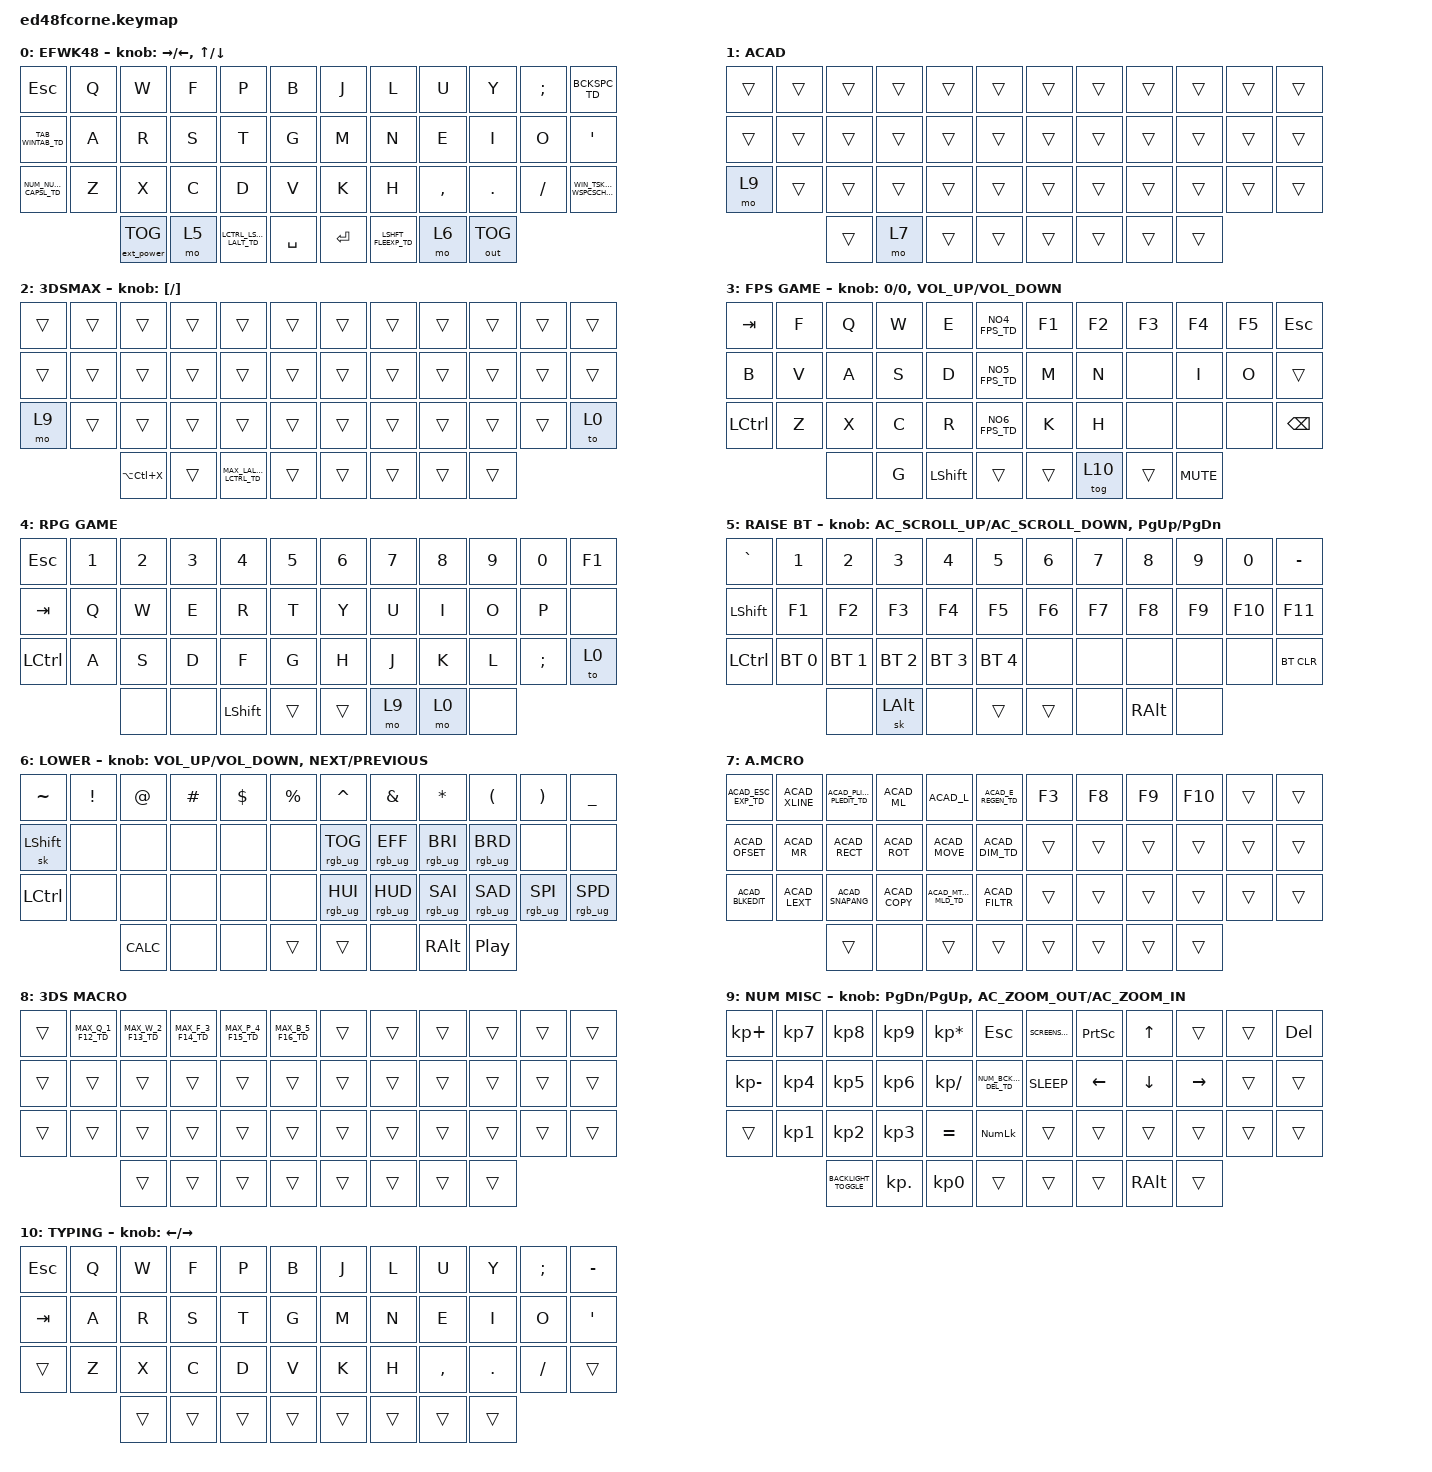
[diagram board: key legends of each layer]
/*
 * Copyright (c) 2020 The ZMK Contributors
 *
 * SPDX-License-Identifier: MIT
 */

#include <behaviors.dtsi>
#include <dt-bindings/zmk/bt.h>
#include <dt-bindings/zmk/ext_power.h>
#include <dt-bindings/zmk/keys.h>
#include <dt-bindings/zmk/outputs.h>
#include <dt-bindings/zmk/rgb.h>

&sk {
    quick-release;
    release-after-ms = <300>;
};

/ {
    behaviors {
        LCTRL_LSHFT_LALT_TD: LCTRL_LSHFT_LALT_TD {
            compatible = "zmk,behavior-tap-dance";
            #binding-cells = <0>;
            bindings = <&kp LCTRL>, <&sk LSHFT>, <&sk LEFT_ALT>;

            tapping-term-ms = <200>;
        };

        NO4_FPS_TD: NO4_FPS_TD {
            compatible = "zmk,behavior-tap-dance";
            #binding-cells = <0>;
            bindings = <&kp N1>, <&kp N4>;

            tapping-term-ms = <280>;
        };

        NO5_FPS_TD: NO5_FPS_TD {
            compatible = "zmk,behavior-tap-dance";
            #binding-cells = <0>;
            bindings = <&kp N2>, <&kp N5>;

            tapping-term-ms = <280>;
        };

        NO6_FPS_TD: NO6_FPS_TD {
            compatible = "zmk,behavior-tap-dance";
            #binding-cells = <0>;
            bindings = <&kp N3>, <&kp N6>;

            tapping-term-ms = <280>;
        };

        ACAD_DIM_TD: ACAD_DIM_TD {
            compatible = "zmk,behavior-tap-dance";
            #binding-cells = <0>;
            tapping-term-ms = <300>;
            bindings = <&ACAD_DIML>, <&ACAD_DIMNTCON>;
        };

        ACAD_E_REGEN_TD: ACAD_E_REGEN_TD {
            compatible = "zmk,behavior-tap-dance";
            #binding-cells = <0>;
            bindings = <&ACAD_ERASE>, <&ACAD_REGEN>;

            tapping-term-ms = <300>;
        };

        ACAD_MTPROP_MLD_TD: ACAD_MTPROP_MLD_TD {
            compatible = "zmk,behavior-tap-dance";
            #binding-cells = <0>;
            bindings = <&ACAD_MATCHPROP>, <&ACAD_MLD>;

            tapping-term-ms = <300>;
        };

        ACAD_PLINE_PLEDIT_TD: ACAD_PLINE_PLEDIT_TD {
            compatible = "zmk,behavior-tap-dance";
            #binding-cells = <0>;
            bindings = <&ACAD_PLINE>, <&ACAD_PLINEDIT>;

            tapping-term-ms = <300>;
        };

        WIN_TSKMGR_WSPCSCHW_TD: WIN_TSKMGR_WSPCSCHW_TD {
            compatible = "zmk,behavior-tap-dance";
            #binding-cells = <0>;
            tapping-term-ms = <300>;
            bindings = <&kp LEFT_GUI>, <&kp LC(LGUI)>, <&kp LC(LA(DELETE))>;
        };

        NUM_NUMTOG_CAPSL_TD: NUM_NUMTOG_CAPSL_TD {
            compatible = "zmk,behavior-tap-dance";
            #binding-cells = <0>;
            tapping-term-ms = <250>;
            bindings = <&mo 9>, <&kp CAPS>, <&tog 9>;
        };

        BCKSPC_TD: BCKSPC_TD {
            compatible = "zmk,behavior-tap-dance";
            #binding-cells = <0>;
            tapping-term-ms = <170>;
            bindings = <&kp BACKSPACE>, <&kp LC(BACKSPACE)>;
        };

        TAB_WINTAB_TD: TAB_WINTAB_TD {
            compatible = "zmk,behavior-tap-dance";
            #binding-cells = <0>;
            tapping-term-ms = <250>;
            bindings = <&kp TAB>, <&kp LA(LC(TAB))>, <&kp LA(TAB)>;
        };

        MAX_LALT_LSHFT_LCTRL_TD: MAX_LALT_LSHFT_LCTRL_TD {
            compatible = "zmk,behavior-tap-dance";
            #binding-cells = <0>;
            tapping-term-ms = <180>;
            bindings = <&kp LALT>, <&kp LSHIFT>, <&kp LCTRL>;
        };

        LSHFT_FLEEXP_TD: LSHFT_FLEEXP_TD {
            compatible = "zmk,behavior-tap-dance";
            #binding-cells = <0>;
            bindings = <&sk LEFT_SHIFT>, <&kp LG(E)>;

            tapping-term-ms = <200>;
        };

        ACAD_ESC_EXP_TD: ACAD_ESC_EXP_TD {
            compatible = "zmk,behavior-tap-dance";
            #binding-cells = <0>;
            bindings = <&kp ESCAPE>, <&ACAD_EXPLODE>;
        };

        MAX_SHFT_RISELAY_TD: MAX_SHFT_RISELAY_TD {
            compatible = "zmk,behavior-tap-dance";
            #binding-cells = <0>;
            bindings = <&kp LSHFT>, <&mo 8>, <&sl 5>;
        };

        MAX_Q_1_F12_TD: MAX_Q_1_F12_TD {
            compatible = "zmk,behavior-tap-dance";
            #binding-cells = <0>;
            bindings = <&kp Q>, <&kp N1>, <&kp F12>;

            tapping-term-ms = <250>;
        };

        MAX_W_2_F13_TD: MAX_W_2_F13_TD {
            compatible = "zmk,behavior-tap-dance";
            #binding-cells = <0>;
            bindings = <&kp W>, <&kp N2>, <&kp F13>;
        };

        MAX_F_3_F14_TD: MAX_F_3_F14_TD {
            compatible = "zmk,behavior-tap-dance";
            #binding-cells = <0>;
            bindings = <&kp F>, <&kp N3>, <&kp F14>;
        };

        MAX_P_4_F15_TD: MAX_P_4_F15_TD {
            compatible = "zmk,behavior-tap-dance";
            #binding-cells = <0>;
            bindings = <&kp P>, <&kp N4>, <&kp F15>;
        };

        MAX_B_5_F16_TD: MAX_B_5_F16_TD {
            compatible = "zmk,behavior-tap-dance";
            #binding-cells = <0>;
            bindings = <&kp B>, <&kp N5>, <&kp F16>;
        };

        NUM_BCKSPC_DEL_TD: NUM_BCKSPC_DEL_TD {
            compatible = "zmk,behavior-tap-dance";
            #binding-cells = <0>;
            tapping-term-ms = <250>;
            bindings = <&kp BACKSPACE>, <&kp DELETE>;
        };
    };

    combos {
        compatible = "zmk,combos";

        ACAD_LAY {
            bindings = <&tog 1>;
            key-positions = <0 12>;
        };

        MAX3DS_LAY {
            bindings = <&tog 2>;
            key-positions = <12 24>;
        };

        FPS_G_LAY {
            bindings = <&tog 3>;
            key-positions = <41 40>;
        };

        RPG_G_LAY {
            bindings = <&tog 4>;
            key-positions = <42 41>;
        };
    };

    macros {
        ACAD_L: ACAD_L {
            compatible = "zmk,behavior-macro";
            #binding-cells = <0>;
            bindings = <&kp L &kp I &kp N &kp E &kp ENTER>;
        };

        ACAD_LEXT: ACAD_LEXT {
            compatible = "zmk,behavior-macro";
            #binding-cells = <0>;
            bindings = <&kp E &kp X &kp T &kp E &kp N &kp D &kp RET>;
        };

        ACAD_REGEN: ACAD_REGEN {
            compatible = "zmk,behavior-macro";
            #binding-cells = <0>;
            bindings = <&kp R &kp E &kp RET>;
        };

        ACAD_RECT: ACAD_RECT {
            compatible = "zmk,behavior-macro";
            #binding-cells = <0>;
            bindings = <&kp R &kp E &kp C &kp T &kp RET>;
        };

        ACAD_DIML: ACAD_DIML {
            compatible = "zmk,behavior-macro";
            #binding-cells = <0>;
            bindings = <&kp D &kp I &kp M &kp L &kp RET>;
        };

        ACAD_MR: ACAD_MR {
            compatible = "zmk,behavior-macro";
            #binding-cells = <0>;
            bindings = <&kp M &kp I &kp RET>;
        };

        ACAD_BLKEDIT: ACAD_BLKEDIT {
            compatible = "zmk,behavior-macro";
            #binding-cells = <0>;
            bindings = <&kp B &kp E &kp D &kp I &kp T &kp RET>;
        };

        ACAD_ROT: ACAD_ROT {
            compatible = "zmk,behavior-macro";
            #binding-cells = <0>;
            bindings = <&kp R &kp O &kp T &kp RET>;
        };

        ACAD_DIMNTCON: ACAD_DIMNTCON {
            compatible = "zmk,behavior-macro";
            #binding-cells = <0>;
            bindings = <&kp D &kp I &kp M &kp C &kp RET>;
        };

        ACAD_PLINE: ACAD_PLINE {
            compatible = "zmk,behavior-macro";
            #binding-cells = <0>;
            bindings = <&kp P &kp L &kp I &kp N &kp E &kp RET>;
        };

        ACAD_MOVE: ACAD_MOVE {
            compatible = "zmk,behavior-macro";
            #binding-cells = <0>;
            bindings = <&kp M &kp O &kp V &kp E &kp RET>;
        };

        ACAD_XLINE: ACAD_XLINE {
            compatible = "zmk,behavior-macro";
            #binding-cells = <0>;
            bindings = <&kp X &kp L &kp I &kp N &kp E &kp RET>;
        };

        ACAD_ML: ACAD_ML {
            compatible = "zmk,behavior-macro";
            #binding-cells = <0>;
            bindings = <&kp M &kp L &kp I &kp N &kp E &kp RET>;
        };

        ACAD_FILTR: ACAD_FILTR {
            compatible = "zmk,behavior-macro";
            #binding-cells = <0>;
            bindings = <&kp F &kp RET &kp R &kp RET>;
        };

        ACAD_SNAPANG: ACAD_SNAPANG {
            compatible = "zmk,behavior-macro";
            #binding-cells = <0>;
            bindings = <&kp S &kp N &kp A &kp P &kp A &kp N &kp G &kp RET>;
        };

        ACAD_MLD: ACAD_MLD {
            compatible = "zmk,behavior-macro";
            #binding-cells = <0>;
            bindings = <&kp M &kp L &kp D &kp RET>;
        };

        ACAD_MATCHPROP: ACAD_MATCHPROP {
            compatible = "zmk,behavior-macro";
            #binding-cells = <0>;
            bindings = <&kp M &kp A &kp RET>;
        };

        ACAD_ERASE: ACAD_ERASE {
            compatible = "zmk,behavior-macro";
            #binding-cells = <0>;
            bindings = <&kp E &kp RET>;
        };

        ACAD_COPY: ACAD_COPY {
            compatible = "zmk,behavior-macro";
            #binding-cells = <0>;
            bindings = <&kp C &kp O &kp RET>;
        };

        ACAD_PLINEDIT: ACAD_PLINEDIT {
            compatible = "zmk,behavior-macro";
            #binding-cells = <0>;
            bindings = <&kp P &kp E &kp RET>;
        };

        ACAD_OFSET: ACAD_OFSET {
            compatible = "zmk,behavior-macro";
            #binding-cells = <0>;
            bindings = <&kp O &kp F &kp RET>;
        };

        ACAD_EXPLODE: ACAD_EXPLODE {
            compatible = "zmk,behavior-macro";
            #binding-cells = <0>;
            bindings = <&kp E &kp X &kp P &kp L &kp O &kp D &kp E &kp RET>;
        };
    };

    keymap {
        compatible = "zmk,keymap";

        default_layer {
            bindings = <
&kp ESC               &kp Q  &kp W              &kp F  &kp P                 &kp B      &kp J    &kp L             &kp U      &kp Y         &kp SEMICOLON  &BCKSPC_TD
&TAB_WINTAB_TD        &kp A  &kp R              &kp S  &kp T                 &kp G      &kp M    &kp N             &kp E      &kp I         &kp O          &kp SQT
&NUM_NUMTOG_CAPSL_TD  &kp Z  &kp X              &kp C  &kp D                 &kp V      &kp K    &kp H             &kp COMMA  &kp DOT       &kp FSLH       &WIN_TSKMGR_WSPCSCHW_TD
                             &ext_power EP_TOG  &mo 5  &LCTRL_LSHFT_LALT_TD  &kp SPACE  &kp RET  &LSHFT_FLEEXP_TD  &mo 6      &out OUT_TOG
            >;

            sensor-bindings = <&inc_dec_kp RIGHT LEFT>, <&inc_dec_kp UP DOWN>;

            display-name = "EFWK48";
        };

        ACAD_LAY {
            bindings = <
&trans  &trans  &trans  &trans  &trans  &trans  &trans  &trans  &trans  &trans  &trans  &trans
&trans  &trans  &trans  &trans  &trans  &trans  &trans  &trans  &trans  &trans  &trans  &trans
&mo 9   &trans  &trans  &trans  &trans  &trans  &trans  &trans  &trans  &trans  &trans  &trans
                &trans  &mo 7   &trans  &trans  &trans  &trans  &trans  &trans
            >;

            display-name = "ACAD";
        };

        MAX3D_LAY {
            bindings = <
&trans  &trans  &trans         &trans  &trans                    &trans  &trans  &trans  &trans  &trans  &trans  &trans
&trans  &trans  &trans         &trans  &trans                    &trans  &trans  &trans  &trans  &trans  &trans  &trans
&mo 9   &trans  &trans         &trans  &trans                    &trans  &trans  &trans  &trans  &trans  &trans  &to 0
                &kp LA(LC(X))  &trans  &MAX_LALT_LSHFT_LCTRL_TD  &trans  &trans  &trans  &trans  &trans
            >;

            display-name = "3DSMAX";
            sensor-bindings = <&inc_dec_kp LBKT RBKT>;
        };

        FPS_LAYER {
            bindings = <
&kp TAB    &kp F  &kp Q  &kp W  &kp E       &NO4_FPS_TD  &kp F1  &kp F2   &kp F3  &kp F4      &kp F5  &kp ESCAPE
&kp B      &kp V  &kp A  &kp S  &kp D       &NO5_FPS_TD  &kp M   &kp N    &none   &kp I       &kp O   &trans
&kp LCTRL  &kp Z  &kp X  &kp C  &kp R       &NO6_FPS_TD  &kp K   &kp H    &none   &none       &none   &kp BACKSPACE
                  &none  &kp G  &kp LSHIFT  &trans       &trans  &tog 10  &trans  &kp C_MUTE
            >;

            display-name = "FPS GAME";
            sensor-bindings =
                <&inc_dec_kp 0 0>,
                <&inc_dec_kp C_VOLUME_UP C_VOLUME_DOWN>;
        };

        RPG_LAYER {
            bindings = <
&kp ESC    &kp N1  &kp N2  &kp N3  &kp N4     &kp N5  &kp N6  &kp N7  &kp N8  &kp N9  &kp N0    &kp F1
&kp TAB    &kp Q   &kp W   &kp E   &kp R      &kp T   &kp Y   &kp U   &kp I   &kp O   &kp P     &none
&kp LCTRL  &kp A   &kp S   &kp D   &kp F      &kp G   &kp H   &kp J   &kp K   &kp L   &kp SEMI  &to 0
                   &none   &none   &kp LSHFT  &trans  &trans  &mo 9   &mo 0   &none
            >;

            display-name = "RPG GAME";
        };

        raise_layer {
            bindings = <
&kp GRAVE       &kp N1        &kp N2        &kp N3        &kp N4        &kp N5        &kp N6  &kp N7  &kp N8    &kp N9  &kp N0   &kp MINUS
&kp LEFT_SHIFT  &kp F1        &kp F2        &kp F3        &kp F4        &kp F5        &kp F6  &kp F7  &kp F8    &kp F9  &kp F10  &kp F11
&kp LCTRL       &bt BT_SEL 0  &bt BT_SEL 1  &bt BT_SEL 2  &bt BT_SEL 3  &bt BT_SEL 4  &none   &none   &none     &none   &none    &bt BT_CLR
                              &none         &sk LEFT_ALT  &none         &trans        &trans  &none   &kp RALT  &none
            >;

            sensor-bindings =
                <&inc_dec_kp C_AC_SCROLL_UP C_AC_SCROLL_DOWN>,
                <&inc_dec_kp PG_UP PG_DN>;

            display-name = "RAISE BT";
        };

        lower_layer {
            bindings = <
&kp TILDE   &kp EXCL  &kp AT      &kp HASH  &kp DLLR  &kp PRCNT  &kp CARET        &kp AMPS         &kp ASTERISK     &kp LPAR          &kp RPAR         &kp UNDERSCORE
&sk LSHIFT  &none     &none       &none     &none     &none      &rgb_ug RGB_TOG  &rgb_ug RGB_EFF  &rgb_ug RGB_BRI  &rgb_ug RGB_BRD   &none            &none
&kp LCTRL   &none     &none       &none     &none     &none      &rgb_ug RGB_HUI  &rgb_ug RGB_HUD  &rgb_ug RGB_SAI  &rgb_ug RGB_SAD   &rgb_ug RGB_SPI  &rgb_ug RGB_SPD
                      &kp K_CALC  &none     &none     &trans     &trans           &none            &kp RALT         &kp C_PLAY_PAUSE
            >;

            sensor-bindings =
                <&inc_dec_kp C_VOLUME_UP C_VOLUME_DOWN>,
                <&inc_dec_kp C_NEXT C_PREVIOUS>;

            display-name = "LOWER";
        };

        ACAD_MCRO {
            bindings = <
&ACAD_ESC_EXP_TD  &ACAD_XLINE  &ACAD_PLINE_PLEDIT_TD  &ACAD_ML    &ACAD_L              &ACAD_E_REGEN_TD  &kp F3  &kp F8  &kp F9  &kp F10  &trans  &trans
&ACAD_OFSET       &ACAD_MR     &ACAD_RECT             &ACAD_ROT   &ACAD_MOVE           &ACAD_DIM_TD      &trans  &trans  &trans  &trans   &trans  &trans
&ACAD_BLKEDIT     &ACAD_LEXT   &ACAD_SNAPANG          &ACAD_COPY  &ACAD_MTPROP_MLD_TD  &ACAD_FILTR       &trans  &trans  &trans  &trans   &trans  &trans
                               &trans                 &none       &trans               &trans            &trans  &trans  &trans  &trans
            >;

            display-name = "A.MCRO";
        };

        MAX_MACRO {
            bindings = <
&trans  &MAX_Q_1_F12_TD  &MAX_W_2_F13_TD  &MAX_F_3_F14_TD  &MAX_P_4_F15_TD  &MAX_B_5_F16_TD  &trans  &trans  &trans  &trans  &trans  &trans
&trans  &trans           &trans           &trans           &trans           &trans           &trans  &trans  &trans  &trans  &trans  &trans
&trans  &trans           &trans           &trans           &trans           &trans           &trans  &trans  &trans  &trans  &trans  &trans
                         &trans           &trans           &trans           &trans           &trans  &trans  &trans  &trans
            >;

            display-name = "3DS MACRO";
        };

        NUM_LAYER {
            bindings = <
&kp KP_PLUS   &kp KP_NUMBER_7  &kp KP_NUMBER_8         &kp KP_NUMBER_9  &kp KP_MULTIPLY  &kp ESCAPE          &kp K_SCREENSAVER  &kp PRINTSCREEN  &kp UP         &trans     &trans  &kp DEL
&kp KP_MINUS  &kp KP_NUMBER_4  &kp KP_NUMBER_5         &kp KP_NUMBER_6  &kp KP_DIVIDE    &NUM_BCKSPC_DEL_TD  &kp K_SLEEP        &kp LEFT         &kp DOWN       &kp RIGHT  &trans  &trans
&trans        &kp KP_NUMBER_1  &kp KP_NUMBER_2         &kp KP_NUMBER_3  &kp EQUAL        &kp KP_NUMLOCK      &trans             &trans           &trans         &trans     &trans  &trans
                               &kp C_BACKLIGHT_TOGGLE  &kp KP_DOT       &kp KP_NUMBER_0  &trans              &trans             &trans           &kp RIGHT_ALT  &trans
            >;

            display-name = "NUM MISC";
            sensor-bindings =
                <&inc_dec_kp PAGE_DOWN PG_UP>,
                <&inc_dec_kp C_AC_ZOOM_OUT C_AC_ZOOM_IN>;
        };

        TYPING {
            bindings = <
&kp ESC  &kp Q  &kp W   &kp F   &kp P   &kp B   &kp J   &kp L   &kp U      &kp Y    &kp SEMI  &kp MINUS
&kp TAB  &kp A  &kp R   &kp S   &kp T   &kp G   &kp M   &kp N   &kp E      &kp I    &kp O     &kp APOS
&trans   &kp Z  &kp X   &kp C   &kp D   &kp V   &kp K   &kp H   &kp COMMA  &kp DOT  &kp FSLH  &trans
                &trans  &trans  &trans  &trans  &trans  &trans  &trans     &trans
            >;

            sensor-bindings = <&inc_dec_kp LEFT RIGHT>;
        };
    };

    conditional_layers { compatible = "zmk,conditional-layers"; };
};
